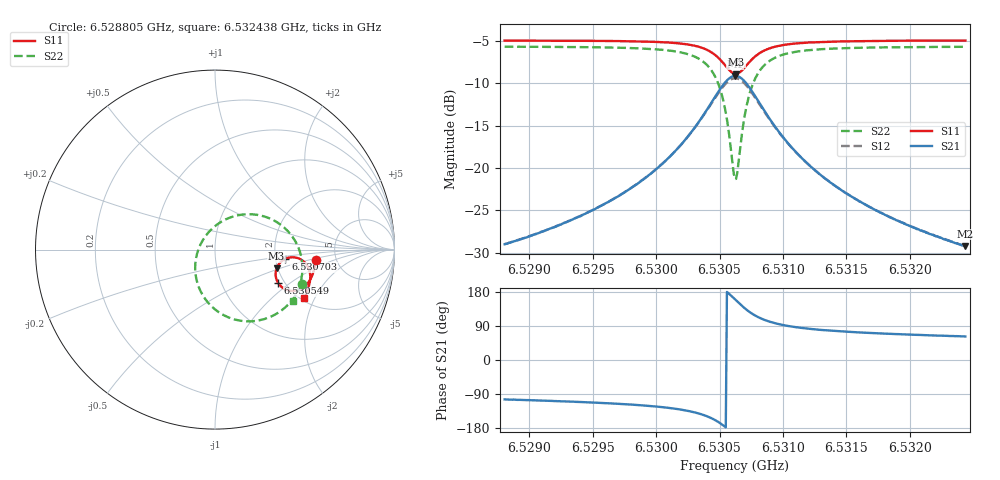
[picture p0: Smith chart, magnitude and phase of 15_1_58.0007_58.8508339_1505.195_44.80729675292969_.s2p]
#  HZ  S  RI  R  50.00
! Rohde & Schwarz Vector Network Analyzer
! Rohde-Schwarz,ZNB20-2Port,1311601062101988,3.16
! Created: UTC 3/21/2024, 12:50:56 AM
! freq[Hz]  re:S11  im:S11  re:S21  im:S21  re:S12  im:S12  re:S22  im:S22
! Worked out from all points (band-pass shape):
!   401 points, 6.528805 GHz to 6.532438 GHz, reference 50 ohm
!   highest |S21| = -9.13 dB at 6.530622 GHz (marker M1); lowest = -29.2 dB at 6.532438 GHz (marker M2)
!   |S21| within 3 dB of the highest: 6.530443 GHz to 6.530806 GHz (363.1 kHz wide, 0.00556 % of centre)
!   lowest |S11| = -8.9 dB at 6.530631 GHz (marker M3), VSWR 2.12, Z = 98.4 - j23.7 ohm
!   |S11| at or under -10 dB: nowhere
!   |S22| runs from -21.3 to -5.7 dB; largest |S21 - S12| = 0.015
!   S11 on the Smith chart (normalised r, x): 6.528805 GHz: 3.48, -0.59; 6.530549 GHz: 1.85, -0.82; 6.530703 GHz: 2.27, -0.27; 6.532438 GHz: 2.10, -1.65
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6.5288052e9  0.5611 -0.0583  -0.00857 -0.0343  -0.00927 -0.0342  0.4826 -0.1916
6.5294138e9  0.5517 -0.1115  -0.0188 -0.0489  -0.02 -0.0486  0.4499 -0.2535
6.5297589e9  0.5405 -0.1461  -0.0326 -0.0646  -0.0343 -0.0639  0.414 -0.2995
6.5300223e9  0.524 -0.1779  -0.0561 -0.0846  -0.0587 -0.083  0.3612 -0.3455
6.5302403e9  0.4939 -0.2103  -0.1035 -0.1086  -0.1067 -0.1047  0.2659 -0.3895
6.5303947e9  0.444 -0.2302  -0.1834 -0.116  -0.1862 -0.1079  0.1192 -0.3917
6.5304855e9  0.3922 -0.2218  -0.2651 -0.0833  -0.2633 -0.0714  -0.0157 -0.3193
6.5305218e9  0.3685 -0.2059  -0.3004 -0.0489  -0.2952 -0.0365  -0.0684 -0.2541
6.5305491e9  0.3527 -0.1871  -0.3227 -0.0122  -0.3144 -0.000249  -0.0977 -0.188
6.5306036e9  0.3378 -0.1342  -0.3365 0.085  -0.3234 0.0916  -0.1007 -0.0252
6.5306217e9  0.3404 -0.1146  -0.3284 0.1194  -0.3147 0.1236  -0.0806 0.0294
6.5306308e9  0.3431 -0.1051  -0.3216 0.1359  -0.308 0.1388  -0.0663 0.0552
6.530649e9  0.3516 -0.0874  -0.3038 0.1663  -0.2905 0.1669  -0.0314 0.1016
6.5307035e9  0.3925 -0.051  -0.227 0.2264  -0.218 0.2223  0.1057 0.1859
6.5307398e9  0.4229 -0.043  -0.1732 0.239  -0.167 0.2343  0.1977 0.1971
6.5307761e9  0.4497 -0.0444  -0.1269 0.2365  -0.1229 0.2321  0.2749 0.1845
6.5308942e9  0.5023 -0.074  -0.0378 0.1916  -0.0364 0.1895  0.4192 0.0877
6.5310214e9  0.5232 -0.1081  -0.00232 0.1452  -0.00112 0.1445  0.471 -0.00553
6.5312303e9  0.5308 -0.1487  0.0148 0.099  0.0158 0.0987  0.4871 -0.1017
6.5315118e9  0.5272 -0.1862  0.0186 0.0672  0.0196 0.067  0.479 -0.1744
6.5318388e9  0.5184 -0.2191  0.0183 0.0478  0.0191 0.0478  0.4631 -0.2256
6.5324382e9  0.4979 -0.2679  0.0162 0.0305  0.0167 0.0302  0.4319 -0.287
